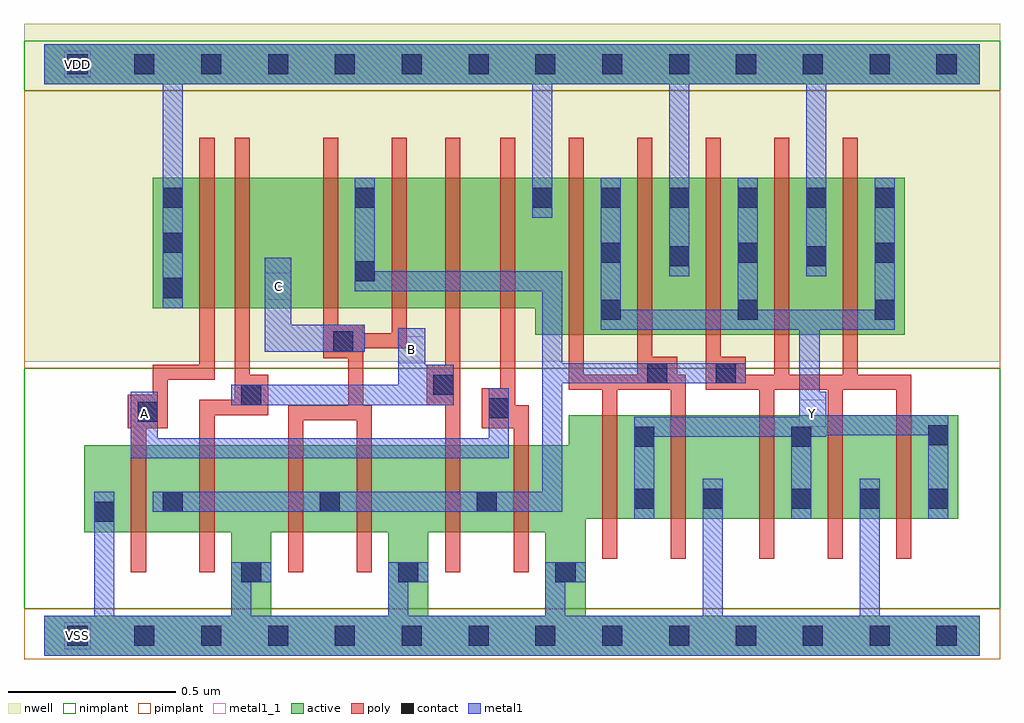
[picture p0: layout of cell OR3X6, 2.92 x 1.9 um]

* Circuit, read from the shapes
.subckt OR3X6 A B C VDD VSS Y
M1 n1 A VSS VSS nfet w=0.26u l=0.045u m=2
M2 VSS B n1 VSS nfet w=0.26u l=0.045u m=2
M3 n1 C VSS VSS nfet w=0.26u l=0.045u m=2
M4 Y n1 VSS VSS nfet w=0.31u l=0.045u m=5
M5 n2 A VDD VDD pfet w=0.39u l=0.045u
M6 n3 B n2 VDD pfet w=0.39u l=0.045u
M7 n1 C n3 VDD pfet w=0.39u l=0.045u
M8 n4 C n1 VDD pfet w=0.39u l=0.045u
M9 n5 B n4 VDD pfet w=0.39u l=0.045u
M10 VDD A n5 VDD pfet w=0.39u l=0.045u
M11 Y n1 VDD VDD pfet w=0.47u l=0.045u m=5
.ends

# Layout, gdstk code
import gdstk
lib = gdstk.Library(unit=1e-6, precision=5e-10)
def R(c, l, rs):  # rectangles x0, y0, x1, y1
    for r in rs: c.add(gdstk.rectangle(r[:2], r[2:], *l))
def A(c, l, x, y, w, h, nx, ny, dx, dy):  # array of equal rectangles
    R(c, l, [(x+i*dx, y+j*dy, x+i*dx+w, y+j*dy+h) for i in range(nx) for j in range(ny)])
def P(c, l, *ps):  # polygons
    for p in ps: c.add(gdstk.Polygon(p, *l))
active = (1, 0)
nwell = (2, 0)
poly = (3, 0)
nimplant = (4, 0)
pimplant = (5, 0)
contact = (6, 0)
metal1 = (7, 0)
metal1_1 = (7, 1)

or3x6 = lib.new_cell('OR3X6')
R(or3x6, active, [(0,1.65,2.8,1.77)])
P(or3x6, active, [(0.325,1.37),(2.575,1.37),(2.575,0.9),(1.47,0.9),(1.47,0.98),(0.325,0.98)],
  [(1.57,0.66),(2.735,0.66),(2.735,0.35),(1.62,0.35),(1.62,0.06),(2.8,0.06),(2.8,-0.06),(0,-0.06),(0,0.06),(0.56,0.06),(0.56,0.31),(0.68,0.31),(0.68,0.06),(1.03,0.06),(1.03,0.31),(1.15,0.31),(1.15,0.06),(1.5,0.06),(1.5,0.31),(0.12,0.31),(0.12,0.57),(1.57,0.57)])
R(or3x6, nwell, [(-0.06,0.82,2.86,1.83)])
P(or3x6, poly, [(0.465,1.49),(0.51,1.49),(0.51,0.765),(0.37,0.765),(0.37,0.62),(0.305,0.62),(0.305,0.19),(0.26,0.19),(0.26,0.62),(0.25,0.62),(0.25,0.72),(0.325,0.72),(0.325,0.81),(0.465,0.81)],
  [(0.57,1.49),(0.615,1.49),(0.615,0.78),(0.67,0.78),(0.67,0.66),(0.51,0.66),(0.51,0.19),(0.465,0.19),(0.465,0.705),(0.57,0.705)],
  [(0.835,1.49),(0.88,1.49),(0.88,0.93),(0.955,0.93),(0.955,0.905),(1.04,0.905),(1.04,1.49),(1.085,1.49),(1.085,0.86),(0.955,0.86),(0.955,0.69),(0.98,0.69),(0.98,0.19),(0.935,0.19),(0.935,0.645),(0.775,0.645),(0.775,0.19),(0.73,0.19),(0.73,0.69),(0.91,0.69),(0.91,0.83),(0.835,0.83)],
  [(1.2,1.49),(1.245,1.49),(1.245,0.19),(1.2,0.19),(1.2,0.69),(1.145,0.69),(1.145,0.81),(1.2,0.81)],
  [(1.365,1.49),(1.41,1.49),(1.41,0.69),(1.45,0.69),(1.45,0.19),(1.405,0.19),(1.405,0.62),(1.31,0.62),(1.31,0.74),(1.365,0.74)],
  [(1.57,1.49),(1.615,1.49),(1.615,0.78),(1.775,0.78),(1.775,1.49),(1.82,1.49),(1.82,0.835),(1.895,0.835),(1.895,0.78),(1.92,0.78),(1.92,0.23),(1.875,0.23),(1.875,0.735),(1.715,0.735),(1.715,0.23),(1.67,0.23),(1.67,0.735),(1.57,0.735)],
  [(1.98,1.49),(2.025,1.49),(2.025,0.835),(2.1,0.835),(2.1,0.78),(2.185,0.78),(2.185,1.49),(2.23,1.49),(2.23,0.78),(2.39,0.78),(2.39,1.49),(2.435,1.49),(2.435,0.78),(2.595,0.78),(2.595,0.23),(2.55,0.23),(2.55,0.735),(2.39,0.735),(2.39,0.23),(2.345,0.23),(2.345,0.735),(2.185,0.735),(2.185,0.23),(2.14,0.23),(2.14,0.735),(1.98,0.735)])
R(or3x6, nimplant, [(-0.06,0.08,2.86,0.8), (-0.06,1.63,2.86,1.78)])
R(or3x6, pimplant, [(-0.06,-0.07,2.86,0.08), (-0.06,0.8,2.86,1.63)])
A(or3x6, contact, 0.07, -0.03, 0.06, 0.06, 14, 2, 0.2, 1.71)
A(or3x6, contact, 0.59, 0.16, 0.06, 0.06, 3, 1, 0.47, 0)
A(or3x6, contact, 0.355, 0.37, 0.06, 0.06, 3, 1, 0.47, 0)
A(or3x6, contact, 2.235, 0.38, 0.06, 0.06, 3, 1, 0.205, 0)
A(or3x6, contact, 1.665, 0.945, 0.06, 0.06, 3, 2, 0.41, 0.17)
A(or3x6, contact, 0.355, 1.01, 0.06, 0.06, 1, 3, 0, 0.135)
A(or3x6, contact, 1.46, 1.28, 0.06, 0.06, 6, 1, 0.205, 0)
R(or3x6, contact, [(0.15,0.34,0.21,0.4), (1.765,0.38,1.825,0.44), (1.97,0.38,2.03,0.44), (1.765,0.565,1.825,0.625), (2.235,0.565,2.295,0.625), (2.645,0.57,2.705,0.63), (0.28,0.64,0.34,0.7), (1.33,0.65,1.39,0.71), (0.59,0.69,0.65,0.75), (1.165,0.72,1.225,0.78), (1.805,0.755,1.865,0.815), (2.01,0.755,2.07,0.815), (0.865,0.85,0.925,0.91), (0.93,1.06,0.99,1.12), (1.87,1.105,1.93,1.165), (2.28,1.105,2.34,1.165), (0.93,1.28,0.99,1.34)])
P(or3x6, metal1, [(0,1.77),(2.8,1.77),(2.8,1.65),(2.34,1.65),(2.34,1.075),(2.28,1.075),(2.28,1.65),(1.93,1.65),(1.93,1.075),(1.87,1.075),(1.87,1.65),(1.52,1.65),(1.52,1.25),(1.46,1.25),(1.46,1.65),(0.415,1.65),(0.415,0.98),(0.355,0.98),(0.355,1.65),(0,1.65)],
  [(0.93,1.37),(0.99,1.37),(0.99,1.09),(1.55,1.09),(1.55,0.815),(2.1,0.815),(2.1,0.755),(1.55,0.755),(1.55,0.37),(0.325,0.37),(0.325,0.43),(1.49,0.43),(1.49,1.03),(0.93,1.03)],
  [(0.66,1.13),(0.74,1.13),(0.74,0.93),(0.96,0.93),(0.96,0.85),(0.66,0.85)],
  [(1.665,1.37),(1.725,1.37),(1.725,0.975),(2.075,0.975),(2.075,1.37),(2.135,1.37),(2.135,0.975),(2.485,0.975),(2.485,1.37),(2.545,1.37),(2.545,0.915),(2.32,0.915),(2.32,0.73),(2.34,0.73),(2.34,0.66),(2.705,0.66),(2.705,0.35),(2.645,0.35),(2.645,0.6),(2.34,0.6),(2.34,0.595),(2.295,0.595),(2.295,0.35),(2.235,0.35),(2.235,0.595),(1.825,0.595),(1.825,0.35),(1.765,0.35),(1.765,0.655),(2.26,0.655),(2.26,0.915),(1.665,0.915)],
  [(1.06,0.92),(1.14,0.92),(1.14,0.81),(1.225,0.81),(1.225,0.69),(0.56,0.69),(0.56,0.75),(1.06,0.75)],
  [(0.26,0.73),(0.34,0.73),(0.34,0.59),(1.33,0.59),(1.33,0.74),(1.39,0.74),(1.39,0.53),(0.26,0.53)],
  [(0.15,0.43),(0.21,0.43),(0.21,0.06),(0.56,0.06),(0.56,0.22),(0.68,0.22),(0.68,0.16),(0.62,0.16),(0.62,0.06),(1.03,0.06),(1.03,0.22),(1.15,0.22),(1.15,0.16),(1.09,0.16),(1.09,0.06),(1.5,0.06),(1.5,0.22),(1.62,0.22),(1.62,0.16),(1.56,0.16),(1.56,0.06),(1.97,0.06),(1.97,0.47),(2.03,0.47),(2.03,0.06),(2.44,0.06),(2.44,0.47),(2.5,0.47),(2.5,0.06),(2.8,0.06),(2.8,-0.06),(0,-0.06),(0,0.06),(0.15,0.06)])
R(or3x6, metal1_1, [(0.06,-0.04,0.14,0.04), (0.26,0.625,0.34,0.705), (2.26,0.625,2.34,0.705), (1.06,0.815,1.14,0.895), (0.66,1.005,0.74,1.085), (0.06,1.67,0.14,1.75)])
or3x6.add(gdstk.Label('Y', (2.3,0.665), layer=7, texttype=1))
or3x6.add(gdstk.Label('C', (0.7,1.045), layer=7, texttype=1))
or3x6.add(gdstk.Label('B', (1.1,0.855), layer=7, texttype=1))
or3x6.add(gdstk.Label('A', (0.3,0.665), layer=7, texttype=1))
or3x6.add(gdstk.Label('VDD', (0.1,1.71), layer=7, texttype=1))
or3x6.add(gdstk.Label('VSS', (0.1,0), layer=7, texttype=1))
or3x6.add(gdstk.Label('OR3X6', (0,0), layer=63, texttype=0))

lib.write_gds('OR3X6.gds')
